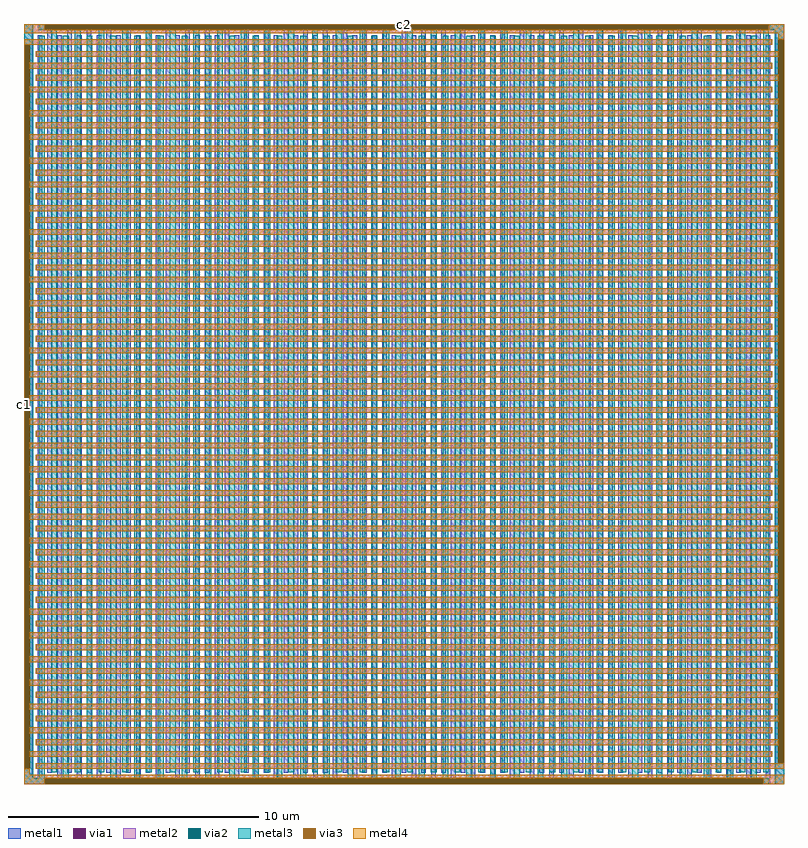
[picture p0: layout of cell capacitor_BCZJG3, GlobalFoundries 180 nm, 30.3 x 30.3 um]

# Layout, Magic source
magic
tech gf180mcuD
magscale 3 26
<< metal1 >>
rect 0 5107 58 5252
rect 94 5251 5252 5252
rect 94 5211 140 5251
rect 5152 5211 5252 5251
rect 94 5210 5252 5211
rect 0 105 1 5107
rect 41 105 58 5107
rect 0 42 58 105
rect 94 42 126 5174
rect 162 78 194 5210
rect 230 42 262 5174
rect 298 78 330 5210
rect 366 42 398 5174
rect 434 78 466 5210
rect 502 42 534 5174
rect 570 78 602 5210
rect 638 42 670 5174
rect 706 78 738 5210
rect 774 42 806 5174
rect 842 78 874 5210
rect 910 42 942 5174
rect 978 78 1010 5210
rect 1046 42 1078 5174
rect 1114 78 1146 5210
rect 1182 42 1214 5174
rect 1250 78 1282 5210
rect 1318 42 1350 5174
rect 1386 78 1418 5210
rect 1454 42 1486 5174
rect 1522 78 1554 5210
rect 1590 42 1622 5174
rect 1658 78 1690 5210
rect 1726 42 1758 5174
rect 1794 78 1826 5210
rect 1862 42 1894 5174
rect 1930 78 1962 5210
rect 1998 42 2030 5174
rect 2066 78 2098 5210
rect 2134 42 2166 5174
rect 2202 78 2234 5210
rect 2270 42 2302 5174
rect 2338 78 2370 5210
rect 2406 42 2438 5174
rect 2474 78 2506 5210
rect 2542 42 2574 5174
rect 2610 78 2642 5210
rect 2678 42 2710 5174
rect 2746 78 2778 5210
rect 2814 42 2846 5174
rect 2882 78 2914 5210
rect 2950 42 2982 5174
rect 3018 78 3050 5210
rect 3086 42 3118 5174
rect 3154 78 3186 5210
rect 3222 42 3254 5174
rect 3290 78 3322 5210
rect 3358 42 3390 5174
rect 3426 78 3458 5210
rect 3494 42 3526 5174
rect 3562 78 3594 5210
rect 3630 42 3662 5174
rect 3698 78 3730 5210
rect 3766 42 3798 5174
rect 3834 78 3866 5210
rect 3902 42 3934 5174
rect 3970 78 4002 5210
rect 4038 42 4070 5174
rect 4106 78 4138 5210
rect 4174 42 4206 5174
rect 4242 78 4274 5210
rect 4310 42 4342 5174
rect 4378 78 4410 5210
rect 4446 42 4478 5174
rect 4514 78 4546 5210
rect 4582 42 4614 5174
rect 4650 78 4682 5210
rect 4718 42 4750 5174
rect 4786 78 4818 5210
rect 4854 42 4886 5174
rect 4922 78 4954 5210
rect 4990 42 5022 5174
rect 5058 78 5090 5210
rect 5126 42 5158 5174
rect 0 41 5158 42
rect 0 1 140 41
rect 5112 1 5158 41
rect 0 0 5158 1
rect 5194 5147 5252 5210
rect 5194 145 5211 5147
rect 5251 145 5252 5147
rect 5194 0 5252 145
<< via1 >>
rect 140 5211 5152 5251
rect 1 105 41 5107
rect 140 1 5112 41
rect 5211 145 5251 5147
<< metal2 >>
rect 0 5251 145 5252
rect 5147 5251 5252 5252
rect 0 5211 140 5251
rect 5152 5211 5252 5251
rect 0 5189 5252 5211
rect 5211 5147 5252 5189
rect 0 5107 5168 5147
rect 84 5025 5211 5065
rect 41 4943 5168 4983
rect 84 4861 5211 4901
rect 41 4779 5168 4819
rect 84 4697 5211 4737
rect 41 4615 5168 4655
rect 84 4533 5211 4573
rect 41 4451 5168 4491
rect 84 4369 5211 4409
rect 41 4287 5168 4327
rect 84 4205 5211 4245
rect 41 4123 5168 4163
rect 84 4041 5211 4081
rect 41 3959 5168 3999
rect 84 3877 5211 3917
rect 41 3795 5168 3835
rect 84 3713 5211 3753
rect 41 3631 5168 3671
rect 84 3549 5211 3589
rect 41 3467 5168 3507
rect 84 3385 5211 3425
rect 41 3303 5168 3343
rect 84 3221 5211 3261
rect 41 3139 5168 3179
rect 84 3057 5211 3097
rect 41 2975 5168 3015
rect 84 2893 5211 2933
rect 41 2811 5168 2851
rect 84 2729 5211 2769
rect 41 2647 5168 2687
rect 84 2565 5211 2605
rect 41 2483 5168 2523
rect 84 2401 5211 2441
rect 41 2319 5168 2359
rect 84 2237 5211 2277
rect 41 2155 5168 2195
rect 84 2073 5211 2113
rect 41 1991 5168 2031
rect 84 1909 5211 1949
rect 41 1827 5168 1867
rect 84 1745 5211 1785
rect 41 1663 5168 1703
rect 84 1581 5211 1621
rect 41 1499 5168 1539
rect 84 1417 5211 1457
rect 41 1335 5168 1375
rect 84 1253 5211 1293
rect 41 1171 5168 1211
rect 84 1089 5211 1129
rect 41 1007 5168 1047
rect 84 925 5211 965
rect 41 843 5168 883
rect 84 761 5211 801
rect 41 679 5168 719
rect 84 597 5211 637
rect 41 515 5168 555
rect 84 433 5211 473
rect 41 351 5168 391
rect 84 269 5211 309
rect 41 187 5168 227
rect 84 105 5252 145
rect 0 63 41 105
rect 0 41 5252 63
rect 0 1 140 41
rect 5112 1 5252 41
rect 0 0 145 1
rect 5107 0 5252 1
<< via2 >>
rect 145 5251 5147 5252
rect 145 5212 5147 5251
rect 0 105 1 5107
rect 1 105 40 5107
rect 5212 145 5251 5147
rect 5251 145 5252 5147
rect 145 1 5107 40
rect 145 0 5107 1
<< metal3 >>
rect 0 5107 63 5252
rect 105 5212 145 5252
rect 5147 5212 5252 5252
rect 40 105 63 5107
rect 0 40 63 105
rect 105 40 145 5170
rect 187 82 227 5212
rect 269 40 309 5170
rect 351 82 391 5212
rect 433 40 473 5170
rect 515 82 555 5212
rect 597 40 637 5170
rect 679 82 719 5212
rect 761 40 801 5170
rect 843 82 883 5212
rect 925 40 965 5170
rect 1007 82 1047 5212
rect 1089 40 1129 5170
rect 1171 82 1211 5212
rect 1253 40 1293 5170
rect 1335 82 1375 5212
rect 1417 40 1457 5170
rect 1499 82 1539 5212
rect 1581 40 1621 5170
rect 1663 82 1703 5212
rect 1745 40 1785 5170
rect 1827 82 1867 5212
rect 1909 40 1949 5170
rect 1991 82 2031 5212
rect 2073 40 2113 5170
rect 2155 82 2195 5212
rect 2237 40 2277 5170
rect 2319 82 2359 5212
rect 2401 40 2441 5170
rect 2483 82 2523 5212
rect 2565 40 2605 5170
rect 2647 82 2687 5212
rect 2729 40 2769 5170
rect 2811 82 2851 5212
rect 2893 40 2933 5170
rect 2975 82 3015 5212
rect 3057 40 3097 5170
rect 3139 82 3179 5212
rect 3221 40 3261 5170
rect 3303 82 3343 5212
rect 3385 40 3425 5170
rect 3467 82 3507 5212
rect 3549 40 3589 5170
rect 3631 82 3671 5212
rect 3713 40 3753 5170
rect 3795 82 3835 5212
rect 3877 40 3917 5170
rect 3959 82 3999 5212
rect 4041 40 4081 5170
rect 4123 82 4163 5212
rect 4205 40 4245 5170
rect 4287 82 4327 5212
rect 4369 40 4409 5170
rect 4451 82 4491 5212
rect 4533 40 4573 5170
rect 4615 82 4655 5212
rect 4697 40 4737 5170
rect 4779 82 4819 5212
rect 4861 40 4901 5170
rect 4943 82 4983 5212
rect 5025 40 5065 5170
rect 5107 82 5147 5212
rect 5189 5147 5252 5212
rect 5189 145 5212 5147
rect 0 0 145 40
rect 5107 0 5147 40
rect 5189 0 5252 145
<< via3 >>
rect 145 5212 5147 5252
rect 0 105 40 5107
rect 5212 145 5252 5147
rect 145 0 5107 40
<< metal4 >>
rect 0 5212 145 5252
rect 5147 5212 5252 5252
rect 0 5189 5252 5212
rect 5212 5147 5252 5189
rect 0 5107 5170 5147
rect 82 5025 5212 5065
rect 40 4943 5170 4983
rect 82 4861 5212 4901
rect 40 4779 5170 4819
rect 82 4697 5212 4737
rect 40 4615 5170 4655
rect 82 4533 5212 4573
rect 40 4451 5170 4491
rect 82 4369 5212 4409
rect 40 4287 5170 4327
rect 82 4205 5212 4245
rect 40 4123 5170 4163
rect 82 4041 5212 4081
rect 40 3959 5170 3999
rect 82 3877 5212 3917
rect 40 3795 5170 3835
rect 82 3713 5212 3753
rect 40 3631 5170 3671
rect 82 3549 5212 3589
rect 40 3467 5170 3507
rect 82 3385 5212 3425
rect 40 3303 5170 3343
rect 82 3221 5212 3261
rect 40 3139 5170 3179
rect 82 3057 5212 3097
rect 40 2975 5170 3015
rect 82 2893 5212 2933
rect 40 2811 5170 2851
rect 82 2729 5212 2769
rect 40 2647 5170 2687
rect 82 2565 5212 2605
rect 40 2483 5170 2523
rect 82 2401 5212 2441
rect 40 2319 5170 2359
rect 82 2237 5212 2277
rect 40 2155 5170 2195
rect 82 2073 5212 2113
rect 40 1991 5170 2031
rect 82 1909 5212 1949
rect 40 1827 5170 1867
rect 82 1745 5212 1785
rect 40 1663 5170 1703
rect 82 1581 5212 1621
rect 40 1499 5170 1539
rect 82 1417 5212 1457
rect 40 1335 5170 1375
rect 82 1253 5212 1293
rect 40 1171 5170 1211
rect 82 1089 5212 1129
rect 40 1007 5170 1047
rect 82 925 5212 965
rect 40 843 5170 883
rect 82 761 5212 801
rect 40 679 5170 719
rect 82 597 5212 637
rect 40 515 5170 555
rect 82 433 5212 473
rect 40 351 5170 391
rect 82 269 5212 309
rect 40 187 5170 227
rect 82 105 5252 145
rect 0 63 40 105
rect 0 40 5252 63
rect 0 0 145 40
rect 5107 0 5252 40
<< labels >>
rlabel via3 2 2626 2 2626 0 c1
port 1 nsew
rlabel via3 2626 5250 2626 5250 0 c2
port 2 nsew
<< properties >>
string device csubckt cap_cmomf 0 0 1 1 w=26.261u l=26.261u mmin=1 mmax=4 subblock=0 mm_ok=1 c1 0 0 c2 0 0
string FIXED_BBOX 0 0 5252 5252
string gencell cap_cmomf
string library gf180mcu
string parameters w 26.261 l 26.261 value 887.567 class capacitor mmin metal1 mmax metal4 square 1 subblock 0 lmin 2.00 wmin 2.00 lmax 100.0 wmax 100.0
<< end >>
